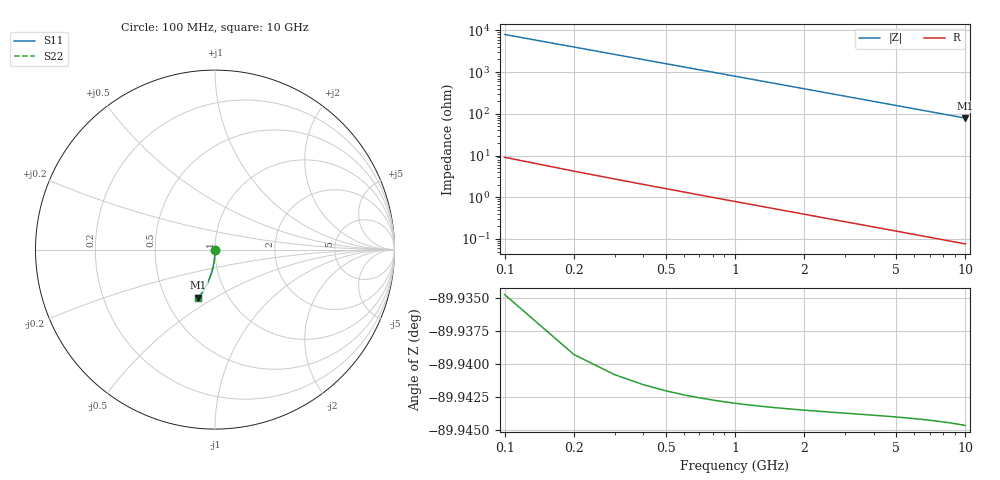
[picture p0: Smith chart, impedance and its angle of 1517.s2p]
# Hz S RI R 50.00
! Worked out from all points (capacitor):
!   100 points, 100 MHz to 10 GHz, reference 50 ohm
!   read as one part in shunt: C = 200 fF near 100 MHz
!   lowest |Z| = 78.8 ohm at 10 GHz (marker M1)
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1e8  4.71e-05 -0.00294  0.9999 -0.00335  0.9999 -0.00335  4.71e-05 -0.00294
2e8  1.49e-05 -0.00587  0.9999 -0.0067  0.9999 -0.0067  1.49e-05 -0.00587
3e8  -3.7e-05 -0.00881  0.9998 -0.01  0.9998 -0.01  -3.7e-05 -0.00881
4e8  -0.000109 -0.0117  0.9998 -0.0134  0.9998 -0.0134  -0.000109 -0.0117
5e8  -0.0002 -0.0147  0.9997 -0.0167  0.9997 -0.0167  -0.0002 -0.0147
6e8  -0.000311 -0.0176  0.9996 -0.0201  0.9996 -0.0201  -0.000311 -0.0176
7e8  -0.000442 -0.0205  0.9994 -0.0234  0.9994 -0.0234  -0.000442 -0.0205
8e8  -0.000592 -0.0235  0.9993 -0.0268  0.9993 -0.0268  -0.000592 -0.0235
9e8  -0.000762 -0.0264  0.9991 -0.0301  0.9991 -0.0301  -0.000762 -0.0264
1.1e9  -0.00116 -0.0323  0.9987 -0.0368  0.9987 -0.0368  -0.00116 -0.0323
1.4e9  -0.00191 -0.0411  0.9979 -0.0468  0.9979 -0.0468  -0.00191 -0.0411
1.8e9  -0.00318 -0.0527  0.9967 -0.0602  0.9967 -0.0602  -0.00318 -0.0527
2.1e9  -0.00433 -0.0615  0.9955 -0.0702  0.9955 -0.0702  -0.00433 -0.0615
2.5e9  -0.00615 -0.0731  0.9937 -0.0834  0.9937 -0.0834  -0.00615 -0.0731
2.9e9  -0.00828 -0.0846  0.9915 -0.0967  0.9915 -0.0967  -0.00828 -0.0846
3.4e9  -0.0114 -0.099  0.9884 -0.1131  0.9884 -0.1131  -0.0114 -0.099
4.2e9  -0.0173 -0.1216  0.9824 -0.1391  0.9824 -0.1391  -0.0173 -0.1216
5.1e9  -0.0254 -0.1466  0.9743 -0.1679  0.9743 -0.1679  -0.0254 -0.1466
5.9e9  -0.0337 -0.1683  0.9658 -0.1929  0.9658 -0.1929  -0.0337 -0.1683
6.7e9  -0.0432 -0.1894  0.9563 -0.2174  0.9563 -0.2174  -0.0432 -0.1894
8.4e9  -0.0666 -0.2319  0.9326 -0.2672  0.9326 -0.2672  -0.0666 -0.2319
1e10  -0.0923 -0.2686  0.9067 -0.3108  0.9067 -0.3108  -0.0923 -0.2686
